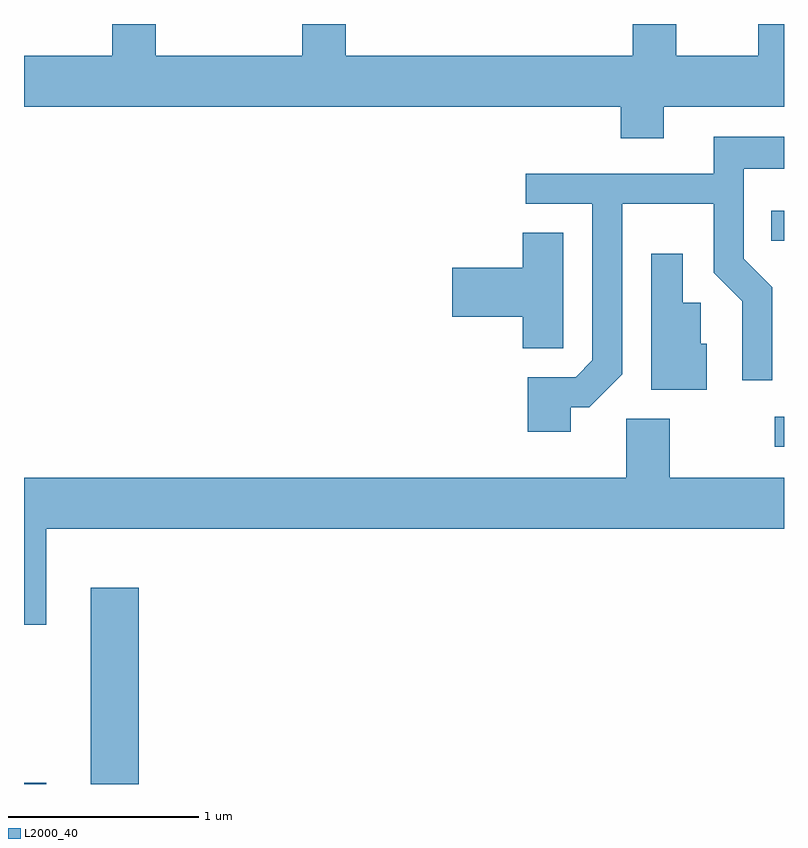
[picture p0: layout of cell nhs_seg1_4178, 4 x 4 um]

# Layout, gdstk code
import gdstk
lib = gdstk.Library(unit=1e-6, precision=1e-09)
def R(c, l, rs):  # rectangles x0, y0, x1, y1
    for r in rs: c.add(gdstk.rectangle(r[:2], r[2:], *l))
def P(c, l, *ps):  # polygons
    for p in ps: c.add(gdstk.Polygon(p, *l))
L2000_40 = (2000, 40)

nhs_seg1_4178 = lib.new_cell('nhs_seg1_4178')
R(nhs_seg1_4178, L2000_40, [(309.611,973.712,309.729,973.719), (309.961,973.712,310.214,974.744), (313.563,975.486,313.611,975.644), (313.543,976.571,313.611,976.729)])
P(nhs_seg1_4178, L2000_40, [(312.979,977.276),(313.611,977.276),(313.611,977.712),(313.476,977.712),(313.476,977.544),(313.044,977.544),(313.044,977.712),(312.816,977.712),(312.816,977.544),(311.304,977.544),(311.304,977.712),(311.076,977.712),(311.076,977.544),(310.304,977.544),(310.304,977.712),(310.076,977.712),(310.076,977.544),(309.611,977.544),(309.611,977.276),(312.751,977.276),(312.751,977.111),(312.979,977.111)],
  [(312.489,975.696),(312.587,975.696),(312.759,975.869),(312.759,976.766),(313.241,976.766),(313.241,976.404),(313.391,976.254),(313.391,975.838),(313.549,975.838),(313.549,976.327),(313.399,976.477),(313.399,976.951),(313.611,976.951),(313.611,977.119),(313.241,977.119),(313.241,976.924),(312.253,976.924),(312.253,976.766),(312.601,976.766),(312.601,975.942),(312.514,975.854),(312.261,975.854),(312.261,975.566),(312.489,975.566)],
  [(312.449,976.614),(312.236,976.614),(312.236,976.429),(311.866,976.429),(311.866,976.171),(312.236,976.171),(312.236,976.006),(312.449,976.006)],
  [(313.204,976.029),(313.174,976.029),(313.174,976.244),(313.079,976.244),(313.079,976.503),(312.911,976.503),(312.911,975.786),(313.204,975.786)],
  [(309.729,975.056),(313.611,975.056),(313.611,975.324),(313.009,975.324),(313.009,975.634),(312.781,975.634),(312.781,975.324),(309.611,975.324),(309.611,974.551),(309.729,974.551)])

lib.write_gds('nhs_seg1_4178.gds')
